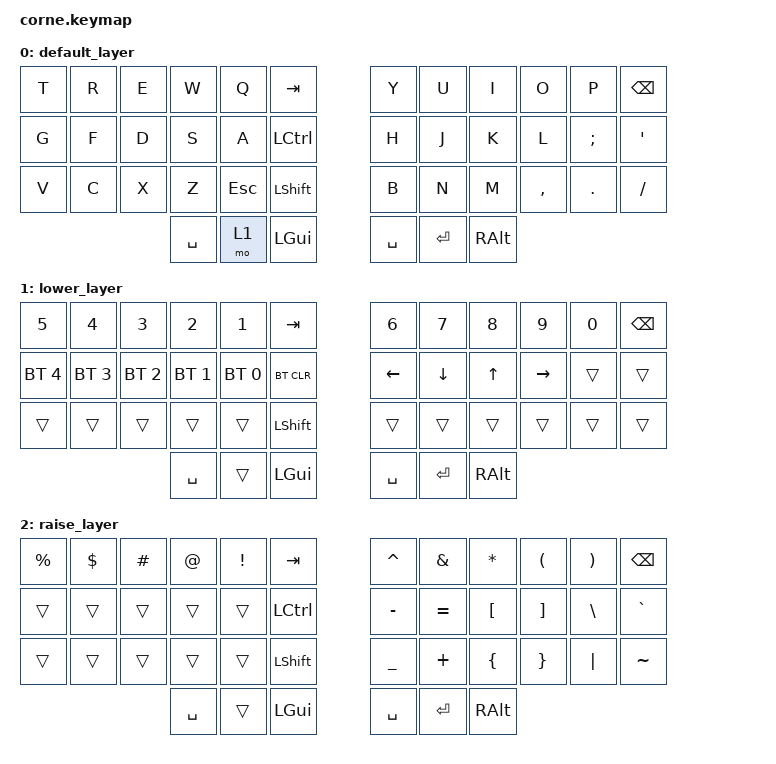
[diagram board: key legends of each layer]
/*
 * Copyright (c) 2020 The ZMK Contributors
 *
 * SPDX-License-Identifier: MIT
 */

#include <behaviors.dtsi>
#include <dt-bindings/zmk/keys.h>
#include <dt-bindings/zmk/bt.h>

/ {
        keymap {
                compatible = "zmk,keymap";

                default_layer {
// -----------------------------------------------------------------------------------------
// |  T |  R  |  E  |  W  |  Q  |  TAB  |   |  Y  |  U   |  I  |  O  |  P  | BSPC |
// | G |  F  |  D  |  S  |  A  |  CTRL  |   |  H  |  J   |  K  |  L  |  ;  |  '   |
// | B |  V  |  C  |  X  |  Z  |  SHFT  |   |  N  |  M   |  ,  |  .  |  /  | ESC  |
//                    | SPC | LWR | GUI |   | ENT | RSE  | ALT |
                        bindings = <
   &kp T   &kp R &kp E &kp W &kp Q &kp TAB   &kp Y &kp U  &kp I     &kp O   &kp P    &kp BSPC
   &kp G &kp F &kp D &kp S &kp A &kp LCTRL   &kp H &kp J  &kp K     &kp L   &kp SEMI &kp SQT
   &kp V &kp C &kp X &kp Z &kp ESC &kp LSHFT   &kp B &kp N  &kp M &kp COMMA &kp DOT &kp FSLH
                  &kp SPACE &mo 1 &kp LGUI   &kp SPACE &kp RET &kp RALT
                        >;
                };
                lower_layer {
// -----------------------------------------------------------------------------------------
// |  5 |  4  |  3  |  2  |  1  |  TAB  |   |  6  |  7  |  8  |  9  |  0  | BSPC |
// | BT5| BT4 | BT3 | BT2 | BT1 | BTCLR |   | LFT | DWN |  UP | RGT |     |      |
// |    |     |     |     |     | SHFT  |   |     |     |     |     |     |      |
//                    | SPC |     | GUI |   | ENT |     | ALT |
                        bindings = <
   &kp N5    &kp N4       &kp N3       &kp N2       &kp N1       &kp TAB         &kp N6   &kp N7   &kp N8 &kp N9    &kp N0 &kp BSPC
   &bt BT_SEL 4 &bt BT_SEL 3 &bt BT_SEL 2 &bt BT_SEL 1 &bt BT_SEL 0 &bt BT_CLR   &kp LEFT &kp DOWN &kp UP &kp RIGHT &trans &trans
   &trans  &trans       &trans       &trans       &trans       &kp LSHFT         &trans   &trans   &trans &trans    &trans &trans
                                    &kp SPACE     &trans       &kp LGUI      &kp SPACE  &kp RET   &kp RALT
                        >;
                };

                raise_layer {
// -----------------------------------------------------------------------------------------
// |  % |  $  |  #  |  @  |  !  |  TAB  |   |  ^  |  &  |  *  |  (  |  )  | BSPC |
// |  |     |     |     |     | CTRL    |   |  -  |  =  |  [  |  ]  |  \  |  `   |
// |  |     |     |     |     |  SHFT   |   |  _  |  +  |  {  |  }  | "|" |  ~   |
//                    | SPC |     | GUI |   | ENT |     | ALT |
                        bindings = <
   &kp  PRCNT  &kp DLLR &kp HASH &kp AT &kp EXCL &kp TAB   &kp CARET &kp AMPS  &kp ASTRK &kp LPAR &kp RPAR &kp BSPC
   &trans  &trans   &trans &trans   &trans   &kp LCTRL      &kp MINUS &kp EQUAL &kp LBKT  &kp RBKT &kp BSLH &kp GRAVE
   &trans &trans   &trans &trans   &trans   &kp LSHFT      &kp UNDER &kp PLUS  &kp LBRC  &kp RBRC &kp PIPE &kp TILDE
                             &kp SPACE &trans   &kp LGUI   &kp SPACE   &kp RET    &kp RALT
                        >;
                };
        };
};
